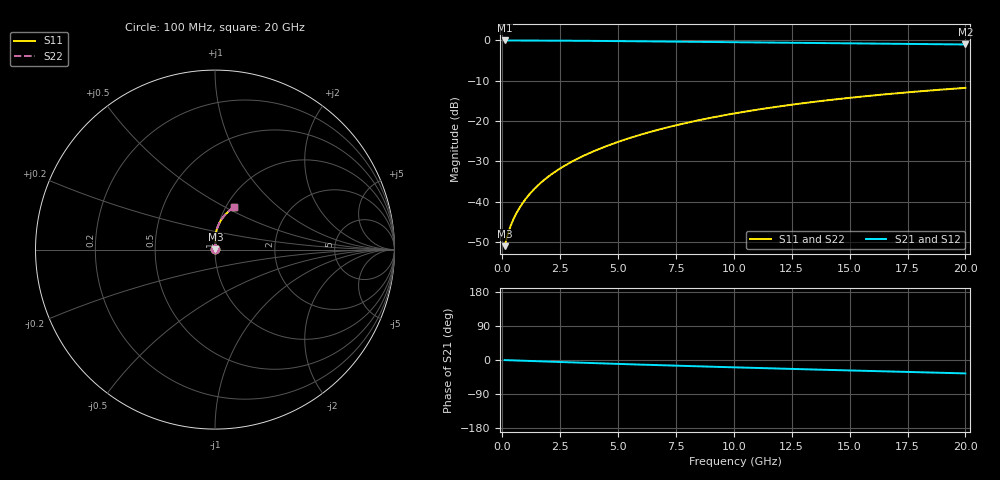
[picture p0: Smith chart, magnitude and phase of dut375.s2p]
! Touchstone file exported from HFSS 2024.1.0
!  File:  C:/UserFiles/LocalFiles/RDL_TSV_Batchsim/temp_RDL_top_375_1779609161.aedt
!  Generated:  03:55:04 PM May 24, 2026
!  Design:  RDL_top
!  Project:  temp_RDL_top_375_1779609161
!  Setup:  Setup1
!  Solution:  Sweep
! Variables:
!  dtsv = 10.80580581um
!  hbump = 3um
!  htsv = 97.42um
!  ldown = 100um
!  lrdl = 549.36um
!  p = 40
!  p1 = 42.95um
!  rhole = 1um
!  t = 450um
!  tdown = 3.915915916um
!  trdl = 3.37um
!  wdown = 15.38538539um
!  wrdl = 25.66um
# GHz S MA R 50.000000
! Terminal data exported
! Port[1] = Box2_T1
! Port[2] = Box2_T2
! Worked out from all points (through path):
!   200 points, 100 MHz to 20 GHz, reference 50 ohm
!   highest |S21| = -0.02 dB at 100 MHz (marker M1); lowest = -1.0 dB at 20 GHz (marker M2)
!   group delay of S21, straight-line fit = 4.85 ps
!   lowest |S11| = -51.0 dB at 100 MHz (marker M3), VSWR 1.01, Z = 50.3 + j0.127 ohm
!   |S11| at or under -10 dB: start of sweep to end of sweep
!   |S22| runs from -51.0 to -11.8 dB; largest |S21 - S12| = 2e-15
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0.1  0.002807 26.7  0.9975 -0.2  0.9975 -0.2  0.002807 26.7
! Gamma 0 0 0 0
! Port Impedance 50 0 50 0
0.2  0.003608 42.0  0.9973 -0.5  0.9973 -0.5  0.003608 42.0
0.3  0.004486 50.6  0.9971 -0.7  0.9971 -0.7  0.004486 50.6
0.4  0.005356 56.3  0.9968 -0.9  0.9968 -0.9  0.005356 56.3
0.5  0.006222 60.6  0.9967 -1.1  0.9967 -1.1  0.006222 60.6
0.6  0.007095 64.0  0.9965 -1.3  0.9965 -1.3  0.007094 64.0
0.8  0.00888 69.3  0.9962 -1.7  0.9962 -1.7  0.00888 69.3
1  0.01072 73.1  0.9958 -2.2  0.9958 -2.2  0.01072 73.1
1.2  0.01262 76.0  0.9955 -2.6  0.9955 -2.6  0.01262 76.0
1.7  0.01753 80.8  0.9943 -3.6  0.9943 -3.6  0.01753 80.8
2.2  0.02265 83.7  0.9928 -4.7  0.9928 -4.7  0.02265 83.7
2.8  0.02907 85.9  0.9906 -5.9  0.9906 -5.9  0.02907 85.9
3.5  0.03693 87.5  0.9876 -7.3  0.9876 -7.3  0.03694 87.5
4.2  0.04518 88.3  0.9841 -8.7  0.9841 -8.7  0.0452 88.4
5  0.05507 88.7  0.9797 -10.3  0.9797 -10.3  0.05509 88.8
6.8  0.07881 87.9  0.9687 -13.7  0.9687 -13.7  0.07886 88.0
8.4  0.1011 86.1  0.9585 -16.6  0.9585 -16.6  0.1012 86.2
10.1  0.1253 83.6  0.9477 -19.5  0.9477 -19.5  0.1254 83.6
11.7  0.1481 80.8  0.9378 -22.2  0.9378 -22.2  0.1482 80.9
13.4  0.172 77.8  0.9275 -25.0  0.9275 -25.0  0.1722 77.8
16.7  0.2165 71.8  0.9081 -30.3  0.9081 -30.3  0.2167 71.8
20  0.2576 65.9  0.8894 -35.4  0.8894 -35.4  0.258 66.0
